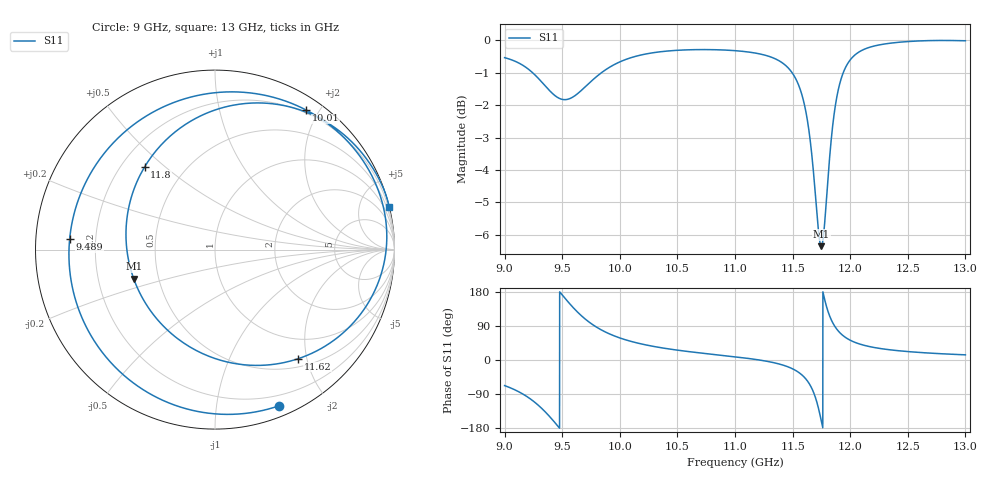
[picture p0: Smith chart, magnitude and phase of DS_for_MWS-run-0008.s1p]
! TOUCHSTONE file generated by CST DESIGN STUDIO
! Date and time: Tue Feb  4 16:41:41 2025
! Project name: C:\Work\MatlabApps\UnitCellOptimizationMatlab\CST\unitcell.cst
! Tree item: Tasks\Sweep1\SPara1\S-Parameters
! Header version: 2024
! Port assignment regex: !\s*Touchstone port\s*([0-9]+)\s*=\s*(CST MWS port|CST DES external port|CST DES block port)\s*(.+)\s* \(\"(.*)\"\)(\s*mode\s*([0-9]+))?.*
! Touchstone port assignment:
! Touchstone port 1 = CST DES external port 1 ("")
# GHz S MA R 50
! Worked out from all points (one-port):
!   4001 points, 9 GHz to 13 GHz, reference 50 ohm
!   lowest |S11| = -6.4 dB at 11.75 GHz (marker M1), VSWR 2.85, Z = 18 - j7.59 ohm
!   |S11| at or under -10 dB: nowhere
!   S11 on the Smith chart (normalised r, x): 9 GHz: 0.10, -1.49; 9.489 GHz: 0.10, +0.04; 10.01 GHz: 0.16, +1.84; 11.62 GHz: 0.63, -1.85; 11.8 GHz: 0.29, +0.43; 13 GHz: 0.04, +8.37
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9  0.9406 -67.6
9.16  0.915 -90.1
9.271  0.8819 -113.8
9.397  0.8343 -151.4
9.489  0.8119 175.7
9.5  0.8109 171.7
9.607  0.8208 134.5
9.707  0.8503 106.3
9.852  0.8946 77.4
10  0.9266 58.2
10.014  0.9289 56.8
10.223  0.9528 40.0
10.5  0.9656 26.0
11  0.9643 8.4
11.303  0.9439 -4.9
11.5  0.8893 -23.3
11.622  0.7646 -52.7
11.692  0.5948 -93.4
11.749  0.4811 -160.3
11.776  0.5164 162.6
11.805  0.605 130.4
11.839  0.7136 103.9
11.876  0.803 84.5
11.934  0.8862 65.3
12  0.9331 52.2
12.178  0.9772 34.7
12.5  0.9961 22.3
13  0.9988 13.6
